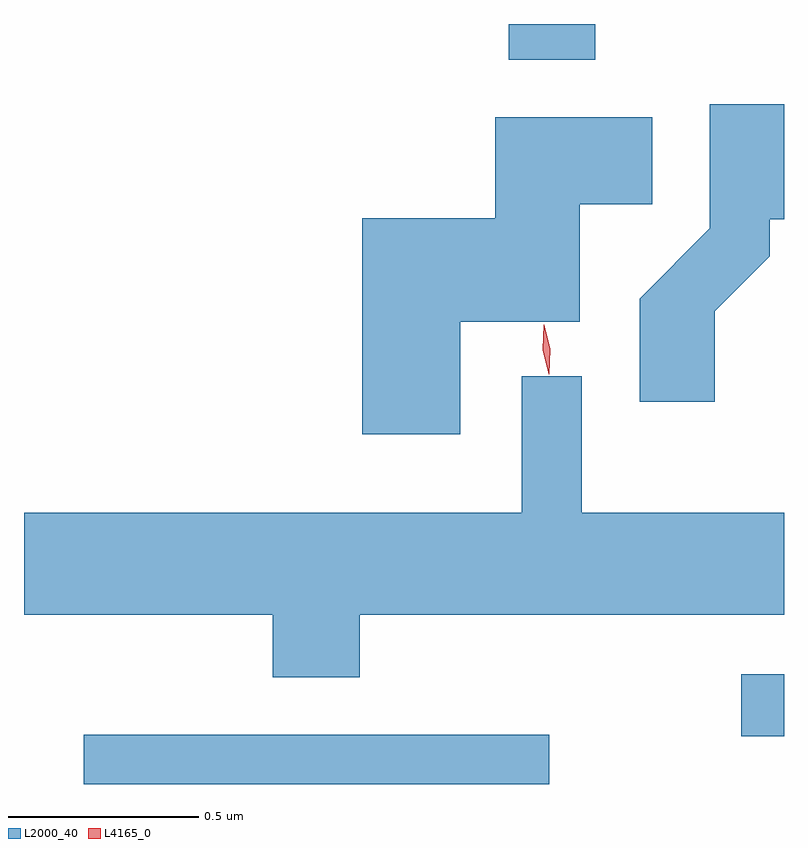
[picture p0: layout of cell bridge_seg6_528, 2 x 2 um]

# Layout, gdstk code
import gdstk
lib = gdstk.Library(unit=1e-6, precision=1e-09)
def R(c, l, rs):  # rectangles x0, y0, x1, y1
    for r in rs: c.add(gdstk.rectangle(r[:2], r[2:], *l))
def P(c, l, *ps):  # polygons
    for p in ps: c.add(gdstk.Polygon(p, *l))
L2000_40 = (2000, 40)
L4165_0 = (4165, 0)

bridge_seg6_528 = lib.new_cell('bridge_seg6_528')
R(bridge_seg6_528, L2000_40, [(970.113,1596.21,971.338,1596.339), (971.843,1596.336,971.956,1596.499), (971.231,1598.116,971.459,1598.21)])
P(bridge_seg6_528, L2000_40, [(971.774,1597.454),(971.919,1597.599),(971.919,1597.696),(971.956,1597.696),(971.956,1597.999),(971.761,1597.999),(971.761,1597.672),(971.576,1597.487),(971.576,1597.216),(971.774,1597.216)],
  [(971.104,1597.426),(971.419,1597.426),(971.419,1597.736),(971.609,1597.736),(971.609,1597.964),(971.196,1597.964),(971.196,1597.699),(970.846,1597.699),(970.846,1597.131),(971.104,1597.131)],
  [(970.839,1596.656),(971.956,1596.656),(971.956,1596.924),(971.424,1596.924),(971.424,1597.283),(971.266,1597.283),(971.266,1596.924),(969.956,1596.924),(969.956,1596.656),(970.611,1596.656),(970.611,1596.491),(970.839,1596.491)])
P(bridge_seg6_528, L4165_0, [(971.337,1597.288),(971.337,1597.288),(971.321,1597.353),(971.324,1597.419),(971.325,1597.419),(971.325,1597.419),(971.341,1597.354),(971.338,1597.288)])

lib.write_gds('bridge_seg6_528.gds')
